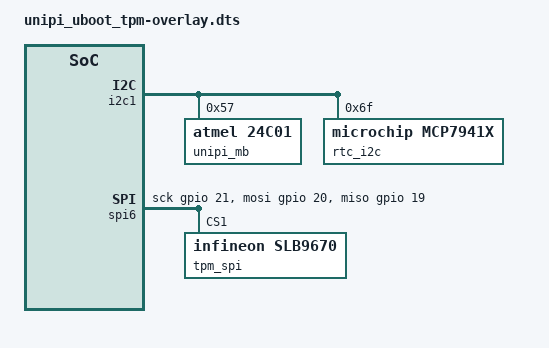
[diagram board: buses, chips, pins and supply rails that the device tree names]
/dts-v1/;
/plugin/;

/ {
	fragment@0 {
		target-path = "/";
		__overlay__ {

			unipi_id: unipi-id {
				compatible = "unipi,unipi-id";
				nvmem = <&unipi_mb>;
				nvmem-names = "plcid0";
				id-channel = <&i2c1>;
			};

			bootcount0 {
				compatible = "u-boot,bootcount-rtc";
				rtc = <&rtc_i2c>;
				offset = <0x20>;
			};
		};
	};

	fragment@1 {
		target = <&i2c1>;

		__overlay__ {
			#address-cells = < 0x01 >;
			#size-cells = < 0x00 >;
			status = "okay";

			unipi_mb:24c01@57 {
				compatible = "atmel,24c01";
				reg = <0x57>;
				status = "okay";
			};

			rtc_i2c:mcp7940x@6f {
				compatible = "microchip,mcp7941x";
				reg = <0x6f>;
				status = "okay";
			};
		};
	};

	fragment@2 {
		target = <&spi6_cs_pins>;
		__overlay__ {
			brcm,pins = <18>, <23>, <19>, <20>, <21> ;
			brcm,function = <0>, <1>, <0>, <1>, <1>; // output input
			brcm,pull = <1>, <0>, <0>, <0>, <0>;
		};
	};

	fragment@3 {
		target = <&spi6>;
		__overlay__ {
			#address-cells = <1>;
			#size-cells = <0>;
			compatible = "spi-gpio";
			pinctrl-names = "default";
			pinctrl-0 = <&spi6_cs_pins>;
			gpio-sck = <&gpio 21 0>;
			gpio-mosi = <&gpio 20 0>;
			gpio-miso = <&gpio 19 0>;
			cs-gpios = <&gpio 23 1>;
			spi-delay-us = <0>;
			status = "okay";

			tpm_spi: tpm-spi@1 {
				compatible = "infineon,slb9670", "tis,tpm2-spi", "tcg,tpm_tis-spi";
				reg = <1>;
				#address-cells = <1>;
				#size-cells = <0>;
				status = "okay";
			};
		};
	};
};
